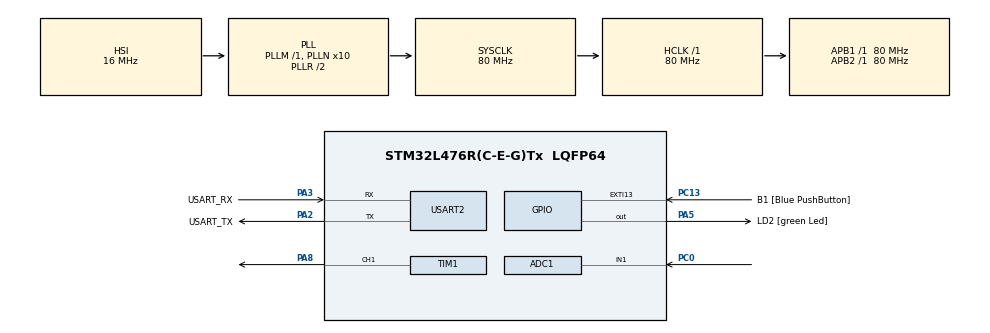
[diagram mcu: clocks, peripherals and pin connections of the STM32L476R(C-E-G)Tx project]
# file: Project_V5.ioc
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ADC1.Channel-6\#ChannelRegularConversion=ADC_CHANNEL_1
ADC1.NbrOfConversionFlag=1
ADC1.OffsetNumber-6\#ChannelRegularConversion=ADC_OFFSET_NONE
ADC1.Rank-6\#ChannelRegularConversion=1
ADC1.SamplingTime-6\#ChannelRegularConversion=ADC_SAMPLETIME_2CYCLES_5
ADC1.master=1
Dma.Request0=TIM1_CH1
Dma.TIM1_CH1.0.Direction=DMA_MEMORY_TO_PERIPH
Dma.TIM1_CH1.0.Instance=DMA1_Channel2
Dma.TIM1_CH1.0.MemDataAlignment=DMA_MDATAALIGN_HALFWORD
Dma.TIM1_CH1.0.MemInc=DMA_MINC_ENABLE
Dma.TIM1_CH1.0.Mode=DMA_NORMAL
Dma.TIM1_CH1.0.PeriphDataAlignment=DMA_PDATAALIGN_HALFWORD
Dma.TIM1_CH1.0.PeriphInc=DMA_PINC_DISABLE
Dma.TIM1_CH1.0.Priority=DMA_PRIORITY_LOW
Mcu.Family=STM32L4
Mcu.Name=STM32L476R(C-E-G)Tx
Mcu.Package=LQFP64
NVIC.DMA1_Channel2_IRQn=true\:0\:0\:false\:false\:true\:false\:true\:true
NVIC.PriorityGroup=NVIC_PRIORITYGROUP_4
NVIC.TIM1_BRK_TIM15_IRQn=true\:0\:0\:false\:false\:true\:true\:true\:true
NVIC.TIM1_CC_IRQn=true\:0\:0\:false\:false\:true\:true\:true\:true
NVIC.TIM1_TRG_COM_TIM17_IRQn=true\:0\:0\:false\:false\:true\:true\:true\:true
NVIC.TIM1_UP_TIM16_IRQn=true\:0\:0\:false\:false\:true\:true\:true\:true
NVIC.TIM4_IRQn=true\:0\:0\:false\:false\:true\:true\:true\:true
PA13\ (JTMS-SWDIO).GPIO_Label=TMS
PA13\ (JTMS-SWDIO).Mode=Serial_Wire
PA13\ (JTMS-SWDIO).Signal=SYS_JTMS-SWDIO
PA14\ (JTCK-SWCLK).GPIO_Label=TCK
PA14\ (JTCK-SWCLK).Mode=Serial_Wire
PA14\ (JTCK-SWCLK).Signal=SYS_JTCK-SWCLK
PA2.GPIO_Label=USART_TX
PA2.GPIO_Mode=GPIO_MODE_AF_PP
PA2.GPIO_PuPd=GPIO_NOPULL
PA2.GPIO_Speed=GPIO_SPEED_FREQ_VERY_HIGH
PA2.Mode=Asynchronous
PA2.Signal=USART2_TX
PA3.GPIO_Label=USART_RX
PA3.GPIO_Mode=GPIO_MODE_AF_PP
PA3.GPIO_PuPd=GPIO_NOPULL
PA3.GPIO_Speed=GPIO_SPEED_FREQ_VERY_HIGH
PA3.Mode=Asynchronous
PA3.Signal=USART2_RX
PA5.GPIO_Label=LD2 [green Led]
PA5.GPIO_ModeDefaultOutputPP=GPIO_MODE_OUTPUT_PP
PA5.GPIO_PuPd=GPIO_NOPULL
PA5.GPIO_Speed=GPIO_SPEED_FREQ_LOW
PA5.Signal=GPIO_Output
PA8.Signal=S_TIM1_CH1
PB3\ (JTDO-TRACESWO).GPIO_Label=SWO
PB3\ (JTDO-TRACESWO).Signal=SYS_JTDO-SWO
PC0.Signal=ADCx_IN1
PC13.GPIO_Label=B1 [Blue PushButton]
PC13.GPIO_ModeDefaultEXTI=GPIO_MODE_IT_FALLING
PC13.GPIO_PuPd=GPIO_NOPULL
PC13.Signal=GPXTI13
PC14-OSC32_IN\ (PC14).Mode=LSE-External-Oscillator
PC14-OSC32_IN\ (PC14).Signal=RCC_OSC32_IN
PC15-OSC32_OUT\ (PC15).Mode=LSE-External-Oscillator
PC15-OSC32_OUT\ (PC15).Signal=RCC_OSC32_OUT
PH0-OSC_IN\ (PH0).Signal=RCC_OSC_IN
PH1-OSC_OUT\ (PH1).Signal=RCC_OSC_OUT
ProjectManager.HeapSize=0x200
ProjectManager.StackSize=0x400
ProjectManager.TargetToolchain=STM32CubeIDE
RCC.ADCFreq_Value=64000000
RCC.AHBFreq_Value=80000000
RCC.APB1Freq_Value=80000000
RCC.APB1TimFreq_Value=80000000
RCC.APB2Freq_Value=80000000
RCC.APB2TimFreq_Value=80000000
RCC.CortexFreq_Value=80000000
RCC.HCLKFreq_Value=80000000
RCC.HSE_VALUE=8000000
RCC.HSI_VALUE=16000000
RCC.MSI_VALUE=4000000
RCC.PLLN=10
RCC.PLLSourceVirtual=RCC_PLLSOURCE_HSI
RCC.PREFETCH_ENABLE=1
RCC.SYSCLKFreq_VALUE=80000000
RCC.SYSCLKSource=RCC_SYSCLKSOURCE_PLLCLK
RCC.USBFreq_Value=64000000
RCC.VCOOutputFreq_Value=160000000
SH.ADCx_IN1.0=ADC1_IN1,IN1-Single-Ended
SH.S_TIM1_CH1.0=TIM1_CH1,PWM Generation1 CH1
TIM1.AutoReloadPreload=TIM_AUTORELOAD_PRELOAD_ENABLE
TIM1.Channel-PWM\ Generation1\ CH1=TIM_CHANNEL_1
TIM1.Period=9999
TIM1.Prescaler=79
TIM4.AutoReloadPreload=TIM_AUTORELOAD_PRELOAD_ENABLE
TIM4.Period=9999
TIM4.Prescaler=79
USART2.VirtualMode-Asynchronous=VM_ASYNC
VP_TIM1_VS_ClockSourceINT.Mode=Internal
VP_TIM4_VS_ClockSourceINT.Mode=Internal
board=NUCLEO-L476RG

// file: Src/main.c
/* USER CODE BEGIN Header */
/**
  ******************************************************************************
  * @file           : main.c
  * @brief          : Main program body
  ******************************************************************************
  * @attention
  *
  * Copyright (c) 2025 STMicroelectronics.
  * All rights reserved.
  *
  * This software is licensed under terms that can be found in the LICENSE file
  * in the root directory of this software component.
  * If no LICENSE file comes with this software, it is provided AS-IS.
  *
  ******************************************************************************
  */
/* USER CODE END Header */
#include "main.h"

/* USER CODE BEGIN Includes */
#include <stdio.h>
/* USER CODE END Includes */

ADC_HandleTypeDef hadc1;

TIM_HandleTypeDef htim1;
TIM_HandleTypeDef htim4;
DMA_HandleTypeDef hdma_tim1_ch1;

UART_HandleTypeDef huart2;

void SystemClock_Config(void);
static void MX_GPIO_Init(void);
static void MX_DMA_Init(void);
static void MX_USART2_UART_Init(void);
static void MX_TIM4_Init(void);
static void MX_TIM1_Init(void);
static void MX_ADC1_Init(void);

/* USER CODE BEGIN 0 */
float value = 0;
int __io_putchar(int ch)

{

HAL_UART_Transmit(&huart2, (uint8_t *)&ch, 1, HAL_MAX_DELAY);

return ch;

}

int __io_getchar(void)

{

uint8_t ch = 0;

__HAL_UART_CLEAR_OREFLAG(&huart2);

HAL_UART_Receive(&huart2, (uint8_t *)&ch, 1, HAL_MAX_DELAY);

HAL_UART_Transmit(&huart2, (uint8_t *)&ch, 1, HAL_MAX_DELAY);

return ch;

}
/* USER CODE END 0 */

int main(void)
{

  /* MCU Configuration--------------------------------------------------------*/

  /* Reset of all peripherals, Initializes the Flash interface and the Systick. */
  HAL_Init();

  /* Configure the system clock */
  SystemClock_Config();

  /* Initialize all configured peripherals */
  MX_GPIO_Init();
  MX_DMA_Init();
  MX_USART2_UART_Init();
  MX_TIM4_Init();
  MX_TIM1_Init();
  MX_ADC1_Init();
  /* USER CODE BEGIN 2 */
  HAL_TIM_Base_Start_IT(&htim4);

  TIM1->CCR1 = 900;
  HAL_TIM_PWM_Start(&htim1, TIM_CHANNEL_1);
  /* USER CODE END 2 */

  /* Infinite loop */
  /* USER CODE BEGIN WHILE */
  while (1)
  {
	  HAL_ADC_Start(&hadc1); // On récupère et convertit la valeur de l'ADC en tension
	  if(HAL_ADC_PollForConversion(&hadc1, 1) == HAL_OK){
		  uint32_t ADC_value = HAL_ADC_GetValue(&hadc1);
		  value = ADC_value * 3.3 / 4095;
	  }

    /* USER CODE END WHILE */

  }
}

void SystemClock_Config(void)
{
  RCC_OscInitTypeDef RCC_OscInitStruct = {0};
  RCC_ClkInitTypeDef RCC_ClkInitStruct = {0};

  /** Configure the main internal regulator output voltage
  */
  if (HAL_PWREx_ControlVoltageScaling(PWR_REGULATOR_VOLTAGE_SCALE1) != HAL_OK)
  {
    Error_Handler();
  }

  /** Initializes the RCC Oscillators according to the specified parameters
  * in the RCC_OscInitTypeDef structure.
  */
  RCC_OscInitStruct.OscillatorType = RCC_OSCILLATORTYPE_HSI;
  RCC_OscInitStruct.HSIState = RCC_HSI_ON;
  RCC_OscInitStruct.HSICalibrationValue = RCC_HSICALIBRATION_DEFAULT;
  RCC_OscInitStruct.PLL.PLLState = RCC_PLL_ON;
  RCC_OscInitStruct.PLL.PLLSource = RCC_PLLSOURCE_HSI;
  RCC_OscInitStruct.PLL.PLLM = 1;
  RCC_OscInitStruct.PLL.PLLN = 10;
  RCC_OscInitStruct.PLL.PLLP = RCC_PLLP_DIV7;
  RCC_OscInitStruct.PLL.PLLQ = RCC_PLLQ_DIV2;
  RCC_OscInitStruct.PLL.PLLR = RCC_PLLR_DIV2;
  if (HAL_RCC_OscConfig(&RCC_OscInitStruct) != HAL_OK)
  {
    Error_Handler();
  }

  /** Initializes the CPU, AHB and APB buses clocks
  */
  RCC_ClkInitStruct.ClockType = RCC_CLOCKTYPE_HCLK|RCC_CLOCKTYPE_SYSCLK
                              |RCC_CLOCKTYPE_PCLK1|RCC_CLOCKTYPE_PCLK2;
  RCC_ClkInitStruct.SYSCLKSource = RCC_SYSCLKSOURCE_PLLCLK;
  RCC_ClkInitStruct.AHBCLKDivider = RCC_SYSCLK_DIV1;
  RCC_ClkInitStruct.APB1CLKDivider = RCC_HCLK_DIV1;
  RCC_ClkInitStruct.APB2CLKDivider = RCC_HCLK_DIV1;

  if (HAL_RCC_ClockConfig(&RCC_ClkInitStruct, FLASH_LATENCY_4) != HAL_OK)
  {
    Error_Handler();
  }
}

static void MX_ADC1_Init(void)
{

  ADC_MultiModeTypeDef multimode = {0};
  ADC_ChannelConfTypeDef sConfig = {0};

  /** Common config
  */
  hadc1.Instance = ADC1;
  hadc1.Init.ClockPrescaler = ADC_CLOCK_ASYNC_DIV1;
  hadc1.Init.Resolution = ADC_RESOLUTION_12B;
  hadc1.Init.DataAlign = ADC_DATAALIGN_RIGHT;
  hadc1.Init.ScanConvMode = ADC_SCAN_DISABLE;
  hadc1.Init.EOCSelection = ADC_EOC_SINGLE_CONV;
  hadc1.Init.LowPowerAutoWait = DISABLE;
  hadc1.Init.ContinuousConvMode = DISABLE;
  hadc1.Init.NbrOfConversion = 1;
  hadc1.Init.DiscontinuousConvMode = DISABLE;
  hadc1.Init.ExternalTrigConv = ADC_SOFTWARE_START;
  hadc1.Init.ExternalTrigConvEdge = ADC_EXTERNALTRIGCONVEDGE_NONE;
  hadc1.Init.DMAContinuousRequests = DISABLE;
  hadc1.Init.Overrun = ADC_OVR_DATA_PRESERVED;
  hadc1.Init.OversamplingMode = DISABLE;
  if (HAL_ADC_Init(&hadc1) != HAL_OK)
  {
    Error_Handler();
  }

  /** Configure the ADC multi-mode
  */
  multimode.Mode = ADC_MODE_INDEPENDENT;
  if (HAL_ADCEx_MultiModeConfigChannel(&hadc1, &multimode) != HAL_OK)
  {
    Error_Handler();
  }

  /** Configure Regular Channel
  */
  sConfig.Channel = ADC_CHANNEL_1;
  sConfig.Rank = ADC_REGULAR_RANK_1;
  sConfig.SamplingTime = ADC_SAMPLETIME_2CYCLES_5;
  sConfig.SingleDiff = ADC_SINGLE_ENDED;
  sConfig.OffsetNumber = ADC_OFFSET_NONE;
  sConfig.Offset = 0;
  if (HAL_ADC_ConfigChannel(&hadc1, &sConfig) != HAL_OK)
  {
    Error_Handler();
  }

}

static void MX_TIM1_Init(void)
{

  TIM_ClockConfigTypeDef sClockSourceConfig = {0};
  TIM_MasterConfigTypeDef sMasterConfig = {0};
  TIM_OC_InitTypeDef sConfigOC = {0};
  TIM_BreakDeadTimeConfigTypeDef sBreakDeadTimeConfig = {0};

  htim1.Instance = TIM1;
  htim1.Init.Prescaler = 79;
  htim1.Init.CounterMode = TIM_COUNTERMODE_UP;
  htim1.Init.Period = 9999;
  htim1.Init.ClockDivision = TIM_CLOCKDIVISION_DIV1;
  htim1.Init.RepetitionCounter = 0;
  htim1.Init.AutoReloadPreload = TIM_AUTORELOAD_PRELOAD_ENABLE;
  if (HAL_TIM_Base_Init(&htim1) != HAL_OK)
  {
    Error_Handler();
  }
  sClockSourceConfig.ClockSource = TIM_CLOCKSOURCE_INTERNAL;
  if (HAL_TIM_ConfigClockSource(&htim1, &sClockSourceConfig) != HAL_OK)
  {
    Error_Handler();
  }
  if (HAL_TIM_PWM_Init(&htim1) != HAL_OK)
  {
    Error_Handler();
  }
  sMasterConfig.MasterOutputTrigger = TIM_TRGO_RESET;
  sMasterConfig.MasterOutputTrigger2 = TIM_TRGO2_RESET;
  sMasterConfig.MasterSlaveMode = TIM_MASTERSLAVEMODE_DISABLE;
  if (HAL_TIMEx_MasterConfigSynchronization(&htim1, &sMasterConfig) != HAL_OK)
  {
    Error_Handler();
  }
  sConfigOC.OCMode = TIM_OCMODE_PWM1;
  sConfigOC.Pulse = 0;
  sConfigOC.OCPolarity = TIM_OCPOLARITY_HIGH;
  sConfigOC.OCNPolarity = TIM_OCNPOLARITY_HIGH;
  sConfigOC.OCFastMode = TIM_OCFAST_DISABLE;
  sConfigOC.OCIdleState = TIM_OCIDLESTATE_RESET;
  sConfigOC.OCNIdleState = TIM_OCNIDLESTATE_RESET;
  if (HAL_TIM_PWM_ConfigChannel(&htim1, &sConfigOC, TIM_CHANNEL_1) != HAL_OK)
  {
    Error_Handler();
  }
  sBreakDeadTimeConfig.OffStateRunMode = TIM_OSSR_DISABLE;
  sBreakDeadTimeConfig.OffStateIDLEMode = TIM_OSSI_DISABLE;
  sBreakDeadTimeConfig.LockLevel = TIM_LOCKLEVEL_OFF;
  sBreakDeadTimeConfig.DeadTime = 0;
  sBreakDeadTimeConfig.BreakState = TIM_BREAK_DISABLE;
  sBreakDeadTimeConfig.BreakPolarity = TIM_BREAKPOLARITY_HIGH;
  sBreakDeadTimeConfig.BreakFilter = 0;
  sBreakDeadTimeConfig.Break2State = TIM_BREAK2_DISABLE;
  sBreakDeadTimeConfig.Break2Polarity = TIM_BREAK2POLARITY_HIGH;
  sBreakDeadTimeConfig.Break2Filter = 0;
  sBreakDeadTimeConfig.AutomaticOutput = TIM_AUTOMATICOUTPUT_DISABLE;
  if (HAL_TIMEx_ConfigBreakDeadTime(&htim1, &sBreakDeadTimeConfig) != HAL_OK)
  {
    Error_Handler();
  }
  HAL_TIM_MspPostInit(&htim1);

}

static void MX_TIM4_Init(void)
{

  TIM_ClockConfigTypeDef sClockSourceConfig = {0};
  TIM_MasterConfigTypeDef sMasterConfig = {0};

  htim4.Instance = TIM4;
  htim4.Init.Prescaler = 79;
  htim4.Init.CounterMode = TIM_COUNTERMODE_UP;
  htim4.Init.Period = 9999;
  htim4.Init.ClockDivision = TIM_CLOCKDIVISION_DIV1;
  htim4.Init.AutoReloadPreload = TIM_AUTORELOAD_PRELOAD_ENABLE;
  if (HAL_TIM_Base_Init(&htim4) != HAL_OK)
  {
    Error_Handler();
  }
  sClockSourceConfig.ClockSource = TIM_CLOCKSOURCE_INTERNAL;
  if (HAL_TIM_ConfigClockSource(&htim4, &sClockSourceConfig) != HAL_OK)
  {
    Error_Handler();
  }
  sMasterConfig.MasterOutputTrigger = TIM_TRGO_RESET;
  sMasterConfig.MasterSlaveMode = TIM_MASTERSLAVEMODE_DISABLE;
  if (HAL_TIMEx_MasterConfigSynchronization(&htim4, &sMasterConfig) != HAL_OK)
  {
    Error_Handler();
  }

}

static void MX_USART2_UART_Init(void)
{

  huart2.Instance = USART2;
  huart2.Init.BaudRate = 115200;
  huart2.Init.WordLength = UART_WORDLENGTH_8B;
  huart2.Init.StopBits = UART_STOPBITS_1;
  huart2.Init.Parity = UART_PARITY_NONE;
  huart2.Init.Mode = UART_MODE_TX_RX;
  huart2.Init.HwFlowCtl = UART_HWCONTROL_NONE;
  huart2.Init.OverSampling = UART_OVERSAMPLING_16;
  huart2.Init.OneBitSampling = UART_ONE_BIT_SAMPLE_DISABLE;
  huart2.AdvancedInit.AdvFeatureInit = UART_ADVFEATURE_NO_INIT;
  if (HAL_UART_Init(&huart2) != HAL_OK)
  {
    Error_Handler();
  }

}

static void MX_DMA_Init(void)
{

  /* DMA controller clock enable */
  __HAL_RCC_DMA1_CLK_ENABLE();

  /* DMA interrupt init */
  /* DMA1_Channel2_IRQn interrupt configuration */
  HAL_NVIC_SetPriority(DMA1_Channel2_IRQn, 0, 0);
  HAL_NVIC_EnableIRQ(DMA1_Channel2_IRQn);

}

static void MX_GPIO_Init(void)
{
  GPIO_InitTypeDef GPIO_InitStruct = {0};

  /* GPIO Ports Clock Enable */
  __HAL_RCC_GPIOC_CLK_ENABLE();
  __HAL_RCC_GPIOH_CLK_ENABLE();
  __HAL_RCC_GPIOA_CLK_ENABLE();
  __HAL_RCC_GPIOB_CLK_ENABLE();

  /*Configure GPIO pin Output Level */
  HAL_GPIO_WritePin(LD2_GPIO_Port, LD2_Pin, GPIO_PIN_RESET);

  /*Configure GPIO pin : B1_Pin */
  GPIO_InitStruct.Pin = B1_Pin;
  GPIO_InitStruct.Mode = GPIO_MODE_IT_FALLING;
  GPIO_InitStruct.Pull = GPIO_NOPULL;
  HAL_GPIO_Init(B1_GPIO_Port, &GPIO_InitStruct);

  /*Configure GPIO pin : LD2_Pin */
  GPIO_InitStruct.Pin = LD2_Pin;
  GPIO_InitStruct.Mode = GPIO_MODE_OUTPUT_PP;
  GPIO_InitStruct.Pull = GPIO_NOPULL;
  GPIO_InitStruct.Speed = GPIO_SPEED_FREQ_LOW;
  HAL_GPIO_Init(LD2_GPIO_Port, &GPIO_InitStruct);

}

void Error_Handler(void)
{
  __disable_irq();
  while (1)
  {
  }
}
